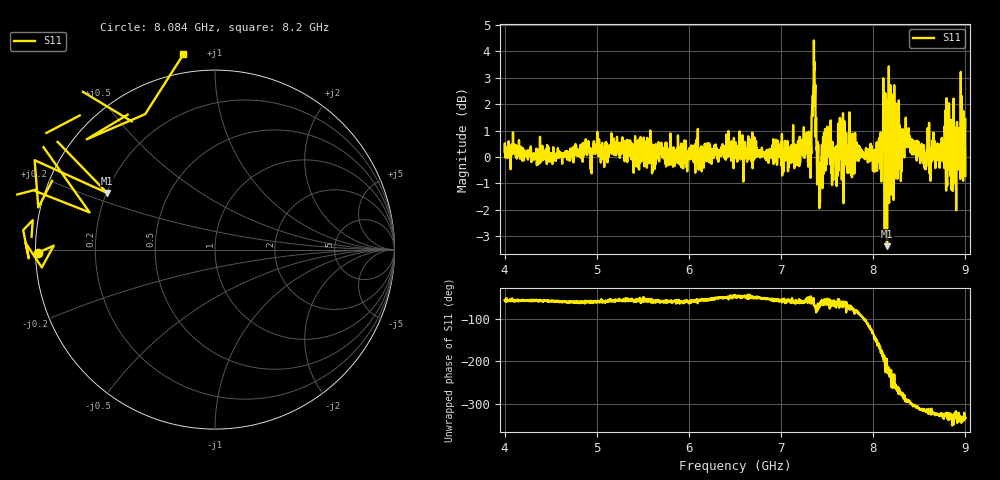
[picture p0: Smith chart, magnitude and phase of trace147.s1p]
! Created with skrf 1.8.0 (http://scikit-rf.org).
# Hz S RI R 50.0
!freq ReS11 ImS11
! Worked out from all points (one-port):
!   1601 points, 4 GHz to 9 GHz, reference 50 ohm
!   lowest |S11| = -3.4 dB at 8.15 GHz (marker M1), VSWR 5.22, Z = 10.1 + j11.9 ohm
!   |S11| at or under -10 dB: nowhere
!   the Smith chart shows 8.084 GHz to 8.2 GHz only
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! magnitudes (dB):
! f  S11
! 4 GHz  0.2
! 4.625 GHz  -0.3
! 5.25 GHz  0.0
! 5.875 GHz  0.3
! 6.5 GHz  0.2
! 7.125 GHz  0.2
! 7.303 GHz  0.3
! 7.356 GHz  4.4
! 7.378 GHz  1.4
! 7.409 GHz  -0.7
! 7.438 GHz  0.0
! 7.453 GHz  -0.3
! 7.512 GHz  0.7
! 7.591 GHz  0.1
! 7.65 GHz  1.4
! 7.75 GHz  -0.2
! 8.019 GHz  -0.1
! 8.15 GHz  -3.4
! 8.178 GHz  2.5
! 8.209 GHz  1.0
! 8.253 GHz  0.8
! 8.312 GHz  0.6
! 8.375 GHz  0.5
! 8.556 GHz  -0.4
! 8.834 GHz  0.5
! 8.875 GHz  0.5
! 8.972 GHz  0.4
! 9 GHz  -0.7
